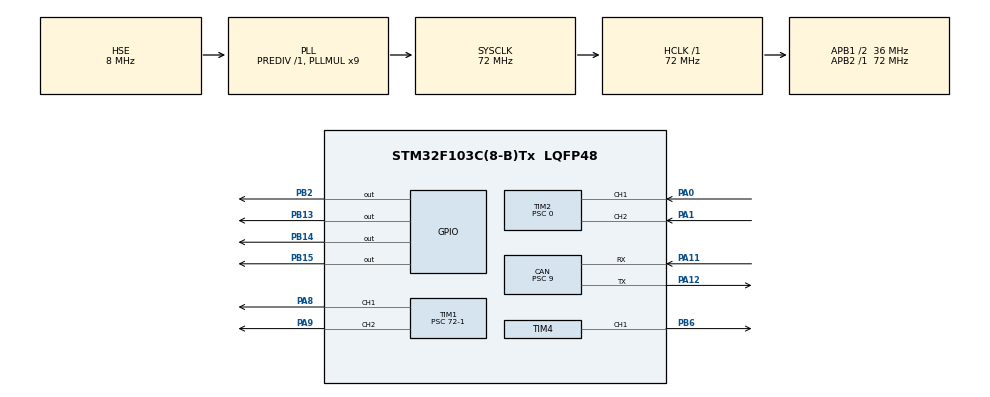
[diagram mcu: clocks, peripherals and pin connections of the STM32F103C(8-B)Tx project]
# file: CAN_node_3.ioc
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CAN.BS1=CAN_BS1_3TQ
CAN.BS2=CAN_BS2_4TQ
CAN.CalculateBaudRate=500000
CAN.CalculateTimeBit=2000.00
CAN.CalculateTimeQuantum=250.0
CAN.Prescaler=9
FREERTOS.Queues01=q_motor_control,32,uint16_t,0,Dynamic,NULL,NULL;q_motor_actual,32,uint16_t,0,Dynamic,NULL,NULL;q_servo_control,16,uint16_t,0,Dynamic,NULL,NULL
FREERTOS.Tasks01=send_msg,0,128,StartDefaultTask,Default,NULL,Dynamic,NULL,NULL;control_motor,-3,128,StartTask02,Default,NULL,Dynamic,NULL,NULL;control_servo,-3,128,StartTask03,Default,NULL,Dynamic,NULL,NULL
Mcu.Family=STM32F1
Mcu.Name=STM32F103C(8-B)Tx
Mcu.Package=LQFP48
NVIC.PriorityGroup=NVIC_PRIORITYGROUP_4
NVIC.TIM1_UP_IRQn=true\:5\:0\:false\:false\:true\:true\:true\:true
NVIC.TIM2_IRQn=true\:5\:0\:false\:false\:true\:true\:true\:true
NVIC.USB_LP_CAN1_RX0_IRQn=true\:5\:0\:false\:false\:true\:true\:true\:true
PA0-WKUP.Signal=S_TIM2_CH1_ETR
PA1.Signal=S_TIM2_CH2
PA11.Mode=CAN_Activate
PA11.Signal=CAN_RX
PA12.Mode=CAN_Activate
PA12.Signal=CAN_TX
PA13.Mode=Serial_Wire
PA13.Signal=SYS_JTMS-SWDIO
PA14.Mode=Serial_Wire
PA14.Signal=SYS_JTCK-SWCLK
PA8.Signal=S_TIM1_CH1
PA9.Signal=S_TIM1_CH2
PB13.Signal=GPIO_Output
PB14.Signal=GPIO_Output
PB15.Signal=GPIO_Output
PB2.Signal=GPIO_Output
PB6.Signal=S_TIM4_CH1
PD0-OSC_IN.Mode=HSE-External-Oscillator
PD0-OSC_IN.Signal=RCC_OSC_IN
PD1-OSC_OUT.Mode=HSE-External-Oscillator
PD1-OSC_OUT.Signal=RCC_OSC_OUT
ProjectManager.HeapSize=0x200
ProjectManager.StackSize=0x400
ProjectManager.TargetToolchain=STM32CubeIDE
RCC.AHBFreq_Value=72000000
RCC.APB1CLKDivider=RCC_HCLK_DIV2
RCC.APB1Freq_Value=36000000
RCC.APB1TimFreq_Value=72000000
RCC.APB2Freq_Value=72000000
RCC.APB2TimFreq_Value=72000000
RCC.HCLKFreq_Value=72000000
RCC.PLLMUL=RCC_PLL_MUL9
RCC.PLLSourceVirtual=RCC_PLLSOURCE_HSE
RCC.SYSCLKFreq_VALUE=72000000
RCC.SYSCLKSource=RCC_SYSCLKSOURCE_PLLCLK
RCC.USBFreq_Value=72000000
SH.S_TIM1_CH1.0=TIM1_CH1,PWM Generation1 CH1
SH.S_TIM1_CH2.0=TIM1_CH2,PWM Generation2 CH2
SH.S_TIM2_CH1_ETR.0=TIM2_CH1,Encoder_Interface
SH.S_TIM2_CH2.0=TIM2_CH2,Encoder_Interface
SH.S_TIM4_CH1.0=TIM4_CH1,PWM Generation1 CH1
TIM1.Channel-PWM\ Generation1\ CH1=TIM_CHANNEL_1
TIM1.Channel-PWM\ Generation2\ CH2=TIM_CHANNEL_2
TIM1.Period=1000-1
TIM1.Prescaler=72-1
TIM2.Period=65535
TIM2.Prescaler=0
TIM4.Channel-PWM\ Generation1\ CH1=TIM_CHANNEL_1
TIM4.Period=10000-1
TIM4.Prescaler=144-1
VP_FREERTOS_VS_CMSIS_V1.Mode=CMSIS_V1
VP_TIM1_VS_ClockSourceINT.Mode=Internal
VP_TIM4_VS_ClockSourceINT.Mode=Internal
board=custom

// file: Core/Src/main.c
/* USER CODE BEGIN Header */
/**
  ******************************************************************************
  * @file           : main.c
  * @brief          : Main program body
  ******************************************************************************
  * @attention
  *
  * <h2><center>&copy; Copyright (c) 2025 STMicroelectronics.
  * All rights reserved.</center></h2>
  *
  * This software component is licensed by ST under BSD 3-Clause license,
  * the "License"; You may not use this file except in compliance with the
  * License. You may obtain a copy of the License at:
  *                        opensource.org/licenses/BSD-3-Clause
  *
  ******************************************************************************
  */
/* USER CODE END Header */
#include "main.h"
#include "cmsis_os.h"

/* USER CODE BEGIN Includes */
#include "motor.h"
#include "can_handler.h"
/* USER CODE END Includes */

CAN_HandleTypeDef hcan;

TIM_HandleTypeDef htim1;
TIM_HandleTypeDef htim2;
TIM_HandleTypeDef htim4;

osThreadId send_msgHandle;
osThreadId control_motorHandle;
osThreadId control_servoHandle;
osMessageQId q_motor_controlHandle;
osMessageQId q_motor_actualHandle;
osMessageQId q_servo_controlHandle;
/* USER CODE BEGIN PV */

motor_t main_motor;

uint16_t 	speed_control;
float 		speed_pulse;
uint16_t	angle_control;
float 		angel_pulse;

float 		kp = 1;
float 		ki = 0.1;
float 		kd = 0.1;

CAN_TxHeaderTypeDef   tx_header;
uint8_t               tx_data[8];
uint32_t              tx_mailbox;

CAN_RxHeaderTypeDef   rx_header;
uint8_t               rx_data[8];

/* USER CODE END PV */

void SystemClock_Config(void);
static void MX_GPIO_Init(void);
static void MX_CAN_Init(void);
static void MX_TIM1_Init(void);
static void MX_TIM2_Init(void);
static void MX_TIM4_Init(void);
void StartDefaultTask(void const * argument);
void StartTask02(void const * argument);
void StartTask03(void const * argument);

/* USER CODE BEGIN PFP */
void clear_buff (uint8_t * buff_clear, size_t num)
{
	if (buff_clear == NULL) return;

	memset(buff_clear, 0, num);
}

void HAL_CAN_RxFifo0MsgPendingCallback (CAN_HandleTypeDef *hcan)
{
	if (HAL_CAN_GetRxMessage(hcan, CAN_RX_FIFO0, &rx_header, rx_data) != HAL_OK)
	{
	Error_Handler();
	}
	if (rx_header.StdId == 0x100)
	{
	  osMessagePut(q_motor_controlHandle, (rx_data[0] | (rx_data[1] << 8)), 0);
	  clear_buff(&rx_data, sizeof(uint8_t)*8);
	}
	if (rx_header.StdId == 0x110)
	{
	  osMessagePut(q_servo_controlHandle, (rx_data[0] | (rx_data[1] << 8)), 0);
	  clear_buff(&rx_data, sizeof(uint8_t)*8);
	}
}

void read_enc (motor_t * motor, TIM_HandleTypeDef * htim)
{
	motor->curr_cnt = __HAL_TIM_GET_COUNTER(htim);
	if ((motor->curr_cnt - motor->pre_cnt) < 65000)
	{
	 	motor->actl_rpm = (int)(motor->curr_cnt - motor->pre_cnt)/((float)1.1);
	 	motor->actl_speed = (int)(motor->actl_rpm * 1.3);
	}
	motor->pre_cnt = motor->curr_cnt;
}

void control_motor (motor_t * motor, uint16_t set_point, TIM_HandleTypeDef 	* _htim)
{
	set_point = set_point * 100 / 4096;
	speed_pulse = calc_PID((motor->actl_rpm * 100)/144, set_point, kp, ki, kd);
	speed_pulse = ((float)speed_pulse/100)*1000;
	__HAL_TIM_SET_COMPARE(_htim, TIM_CHANNEL_1, (uint16_t)speed_pulse);
}

void HAL_TIM_PeriodElapsedCallback (TIM_HandleTypeDef *htim)
{
	static uint16_t period_sample_cnt = 0;
	if (htim->Instance == htim1.Instance){
		if (period_sample_cnt < SAMPLING_ENC)
		{
			 period_sample_cnt++;
		}
		else
		{
			 period_sample_cnt = 0;
			 read_enc(&main_motor, &htim2);
			 control_motor(&main_motor, speed_control, &htim1);
		}
	}
}

void blinker_led ()
{
	static uint32_t curr_tick_cnt = 0;
	static uint32_t pre_tick_cnt = 0;

	curr_tick_cnt = osKernelSysTick();
	if (curr_tick_cnt - pre_tick_cnt > 1000)
	{
		HAL_GPIO_WritePin(GPIOB, GPIO_PIN_2, GPIO_PIN_SET);
	}
	if (curr_tick_cnt - pre_tick_cnt > 1030)
	{
		pre_tick_cnt = curr_tick_cnt;
		HAL_GPIO_WritePin(GPIOB, GPIO_PIN_2, GPIO_PIN_RESET);
	}
}

/* USER CODE END PFP */

int main(void)
{

  /* MCU Configuration--------------------------------------------------------*/

  /* Reset of all peripherals, Initializes the Flash interface and the Systick. */
   HAL_Init();

  /* Configure the system clock */
  SystemClock_Config();

  /* Initialize all configured peripherals */
  MX_GPIO_Init();
  MX_CAN_Init();
  MX_TIM1_Init();
  MX_TIM2_Init();
  MX_TIM4_Init();
  /* USER CODE BEGIN 2 */
  /* Initialize CAN error handler */
  CAN_ErrorHandler_Init(&hcan);

  HAL_CAN_Start(&hcan);

  /* Activate CAN notifications with error handling */
  HAL_CAN_ActivateNotification(&hcan,
      CAN_IT_RX_FIFO0_MSG_PENDING |
      CAN_IT_ERROR_WARNING |
      CAN_IT_ERROR_PASSIVE |
      CAN_IT_BUSOFF |
      CAN_IT_LAST_ERROR_CODE);

  /* USER CODE END 2 */

  /* Create the queue(s) */
  /* definition and creation of q_motor_control */
  osMessageQDef(q_motor_control, 32, uint16_t);
  q_motor_controlHandle = osMessageCreate(osMessageQ(q_motor_control), NULL);

  /* definition and creation of q_motor_actual */
  osMessageQDef(q_motor_actual, 32, uint16_t);
  q_motor_actualHandle = osMessageCreate(osMessageQ(q_motor_actual), NULL);

  /* definition and creation of q_servo_control */
  osMessageQDef(q_servo_control, 16, uint16_t);
  q_servo_controlHandle = osMessageCreate(osMessageQ(q_servo_control), NULL);

  /* Create the thread(s) */
  /* definition and creation of send_msg */
  osThreadDef(send_msg, StartDefaultTask, osPriorityNormal, 0, 128);
  send_msgHandle = osThreadCreate(osThread(send_msg), NULL);

  /* definition and creation of control_motor */
  osThreadDef(control_motor, StartTask02, osPriorityIdle, 0, 128);
  control_motorHandle = osThreadCreate(osThread(control_motor), NULL);

  /* definition and creation of control_servo */
  osThreadDef(control_servo, StartTask03, osPriorityIdle, 0, 128);
  control_servoHandle = osThreadCreate(osThread(control_servo), NULL);

  /* Start scheduler */
  osKernelStart();

  /* We should never get here as control is now taken by the scheduler */
  /* Infinite loop */
  while (1)
  {

  }
}

void SystemClock_Config(void)
{
  RCC_OscInitTypeDef RCC_OscInitStruct = {0};
  RCC_ClkInitTypeDef RCC_ClkInitStruct = {0};

  /** Initializes the RCC Oscillators according to the specified parameters
  * in the RCC_OscInitTypeDef structure.
  */
  RCC_OscInitStruct.OscillatorType = RCC_OSCILLATORTYPE_HSE;
  RCC_OscInitStruct.HSEState = RCC_HSE_ON;
  RCC_OscInitStruct.HSEPredivValue = RCC_HSE_PREDIV_DIV1;
  RCC_OscInitStruct.HSIState = RCC_HSI_ON;
  RCC_OscInitStruct.PLL.PLLState = RCC_PLL_ON;
  RCC_OscInitStruct.PLL.PLLSource = RCC_PLLSOURCE_HSE;
  RCC_OscInitStruct.PLL.PLLMUL = RCC_PLL_MUL9;
  if (HAL_RCC_OscConfig(&RCC_OscInitStruct) != HAL_OK)
  {
    Error_Handler();
  }
  /** Initializes the CPU, AHB and APB buses clocks
  */
  RCC_ClkInitStruct.ClockType = RCC_CLOCKTYPE_HCLK|RCC_CLOCKTYPE_SYSCLK
                              |RCC_CLOCKTYPE_PCLK1|RCC_CLOCKTYPE_PCLK2;
  RCC_ClkInitStruct.SYSCLKSource = RCC_SYSCLKSOURCE_PLLCLK;
  RCC_ClkInitStruct.AHBCLKDivider = RCC_SYSCLK_DIV1;
  RCC_ClkInitStruct.APB1CLKDivider = RCC_HCLK_DIV2;
  RCC_ClkInitStruct.APB2CLKDivider = RCC_HCLK_DIV1;

  if (HAL_RCC_ClockConfig(&RCC_ClkInitStruct, FLASH_LATENCY_2) != HAL_OK)
  {
    Error_Handler();
  }
}

static void MX_CAN_Init(void)
{

  hcan.Instance = CAN1;
  hcan.Init.Prescaler = 9;
  hcan.Init.Mode = CAN_MODE_NORMAL;
  hcan.Init.SyncJumpWidth = CAN_SJW_1TQ;
  hcan.Init.TimeSeg1 = CAN_BS1_3TQ;
  hcan.Init.TimeSeg2 = CAN_BS2_4TQ;
  hcan.Init.TimeTriggeredMode = DISABLE;
  hcan.Init.AutoBusOff = DISABLE;
  hcan.Init.AutoWakeUp = DISABLE;
  hcan.Init.AutoRetransmission = DISABLE;
  hcan.Init.ReceiveFifoLocked = DISABLE;
  hcan.Init.TransmitFifoPriority = DISABLE;
  if (HAL_CAN_Init(&hcan) != HAL_OK)
  {
    Error_Handler();
  }
  /* USER CODE BEGIN CAN_Init 2 */
  CAN_FilterTypeDef canfilterconfig;

  canfilterconfig.FilterActivation = ENABLE;
  canfilterconfig.FilterBank = 0;
  canfilterconfig.FilterFIFOAssignment = CAN_RX_FIFO0;
  canfilterconfig.FilterMode = CAN_FILTERMODE_IDMASK;
  canfilterconfig.FilterIdHigh = (0x100 << 5);
  canfilterconfig.FilterIdLow = 0;
  canfilterconfig.FilterMaskIdHigh = (0x100 << 5);
  canfilterconfig.FilterMaskIdLow = 0;
  canfilterconfig.FilterScale = CAN_FILTERSCALE_32BIT;
  canfilterconfig.SlaveStartFilterBank = 10;

  HAL_CAN_ConfigFilter(&hcan, &canfilterconfig);

  /* USER CODE END CAN_Init 2 */

}

static void MX_TIM1_Init(void)
{

  TIM_ClockConfigTypeDef sClockSourceConfig = {0};
  TIM_MasterConfigTypeDef sMasterConfig = {0};
  TIM_OC_InitTypeDef sConfigOC = {0};
  TIM_BreakDeadTimeConfigTypeDef sBreakDeadTimeConfig = {0};

  htim1.Instance = TIM1;
  htim1.Init.Prescaler = 72-1;
  htim1.Init.CounterMode = TIM_COUNTERMODE_UP;
  htim1.Init.Period = 1000-1;
  htim1.Init.ClockDivision = TIM_CLOCKDIVISION_DIV1;
  htim1.Init.RepetitionCounter = 0;
  htim1.Init.AutoReloadPreload = TIM_AUTORELOAD_PRELOAD_DISABLE;
  if (HAL_TIM_Base_Init(&htim1) != HAL_OK)
  {
    Error_Handler();
  }
  sClockSourceConfig.ClockSource = TIM_CLOCKSOURCE_INTERNAL;
  if (HAL_TIM_ConfigClockSource(&htim1, &sClockSourceConfig) != HAL_OK)
  {
    Error_Handler();
  }
  if (HAL_TIM_PWM_Init(&htim1) != HAL_OK)
  {
    Error_Handler();
  }
  sMasterConfig.MasterOutputTrigger = TIM_TRGO_RESET;
  sMasterConfig.MasterSlaveMode = TIM_MASTERSLAVEMODE_DISABLE;
  if (HAL_TIMEx_MasterConfigSynchronization(&htim1, &sMasterConfig) != HAL_OK)
  {
    Error_Handler();
  }
  sConfigOC.OCMode = TIM_OCMODE_PWM1;
  sConfigOC.Pulse = 0;
  sConfigOC.OCPolarity = TIM_OCPOLARITY_HIGH;
  sConfigOC.OCNPolarity = TIM_OCNPOLARITY_HIGH;
  sConfigOC.OCFastMode = TIM_OCFAST_DISABLE;
  sConfigOC.OCIdleState = TIM_OCIDLESTATE_RESET;
  sConfigOC.OCNIdleState = TIM_OCNIDLESTATE_RESET;
  if (HAL_TIM_PWM_ConfigChannel(&htim1, &sConfigOC, TIM_CHANNEL_1) != HAL_OK)
  {
    Error_Handler();
  }
  if (HAL_TIM_PWM_ConfigChannel(&htim1, &sConfigOC, TIM_CHANNEL_2) != HAL_OK)
  {
    Error_Handler();
  }
  sBreakDeadTimeConfig.OffStateRunMode = TIM_OSSR_DISABLE;
  sBreakDeadTimeConfig.OffStateIDLEMode = TIM_OSSI_DISABLE;
  sBreakDeadTimeConfig.LockLevel = TIM_LOCKLEVEL_OFF;
  sBreakDeadTimeConfig.DeadTime = 0;
  sBreakDeadTimeConfig.BreakState = TIM_BREAK_DISABLE;
  sBreakDeadTimeConfig.BreakPolarity = TIM_BREAKPOLARITY_HIGH;
  sBreakDeadTimeConfig.AutomaticOutput = TIM_AUTOMATICOUTPUT_DISABLE;
  if (HAL_TIMEx_ConfigBreakDeadTime(&htim1, &sBreakDeadTimeConfig) != HAL_OK)
  {
    Error_Handler();
  }
  HAL_TIM_MspPostInit(&htim1);

}

static void MX_TIM2_Init(void)
{

  TIM_Encoder_InitTypeDef sConfig = {0};
  TIM_MasterConfigTypeDef sMasterConfig = {0};

  htim2.Instance = TIM2;
  htim2.Init.Prescaler = 0;
  htim2.Init.CounterMode = TIM_COUNTERMODE_UP;
  htim2.Init.Period = 65535;
  htim2.Init.ClockDivision = TIM_CLOCKDIVISION_DIV1;
  htim2.Init.AutoReloadPreload = TIM_AUTORELOAD_PRELOAD_DISABLE;
  sConfig.EncoderMode = TIM_ENCODERMODE_TI1;
  sConfig.IC1Polarity = TIM_ICPOLARITY_RISING;
  sConfig.IC1Selection = TIM_ICSELECTION_DIRECTTI;
  sConfig.IC1Prescaler = TIM_ICPSC_DIV1;
  sConfig.IC1Filter = 0;
  sConfig.IC2Polarity = TIM_ICPOLARITY_RISING;
  sConfig.IC2Selection = TIM_ICSELECTION_DIRECTTI;
  sConfig.IC2Prescaler = TIM_ICPSC_DIV1;
  sConfig.IC2Filter = 0;
  if (HAL_TIM_Encoder_Init(&htim2, &sConfig) != HAL_OK)
  {
    Error_Handler();
  }
  sMasterConfig.MasterOutputTrigger = TIM_TRGO_RESET;
  sMasterConfig.MasterSlaveMode = TIM_MASTERSLAVEMODE_DISABLE;
  if (HAL_TIMEx_MasterConfigSynchronization(&htim2, &sMasterConfig) != HAL_OK)
  {
    Error_Handler();
  }

}

static void MX_TIM4_Init(void)
{

  TIM_ClockConfigTypeDef sClockSourceConfig = {0};
  TIM_MasterConfigTypeDef sMasterConfig = {0};
  TIM_OC_InitTypeDef sConfigOC = {0};

  htim4.Instance = TIM4;
  htim4.Init.Prescaler = 144-1;
  htim4.Init.CounterMode = TIM_COUNTERMODE_UP;
  htim4.Init.Period = 10000-1;
  htim4.Init.ClockDivision = TIM_CLOCKDIVISION_DIV1;
  htim4.Init.AutoReloadPreload = TIM_AUTORELOAD_PRELOAD_DISABLE;
  if (HAL_TIM_Base_Init(&htim4) != HAL_OK)
  {
    Error_Handler();
  }
  sClockSourceConfig.ClockSource = TIM_CLOCKSOURCE_INTERNAL;
  if (HAL_TIM_ConfigClockSource(&htim4, &sClockSourceConfig) != HAL_OK)
  {
    Error_Handler();
  }
  if (HAL_TIM_PWM_Init(&htim4) != HAL_OK)
  {
    Error_Handler();
  }
  sMasterConfig.MasterOutputTrigger = TIM_TRGO_RESET;
  sMasterConfig.MasterSlaveMode = TIM_MASTERSLAVEMODE_DISABLE;
  if (HAL_TIMEx_MasterConfigSynchronization(&htim4, &sMasterConfig) != HAL_OK)
  {
    Error_Handler();
  }
  sConfigOC.OCMode = TIM_OCMODE_PWM1;
  sConfigOC.Pulse = 0;
  sConfigOC.OCPolarity = TIM_OCPOLARITY_HIGH;
  sConfigOC.OCFastMode = TIM_OCFAST_DISABLE;
  if (HAL_TIM_PWM_ConfigChannel(&htim4, &sConfigOC, TIM_CHANNEL_1) != HAL_OK)
  {
    Error_Handler();
  }
  HAL_TIM_MspPostInit(&htim4);

}

static void MX_GPIO_Init(void)
{
  GPIO_InitTypeDef GPIO_InitStruct = {0};

  /* GPIO Ports Clock Enable */
  __HAL_RCC_GPIOD_CLK_ENABLE();
  __HAL_RCC_GPIOA_CLK_ENABLE();
  __HAL_RCC_GPIOB_CLK_ENABLE();

  /*Configure GPIO pin Output Level */
  HAL_GPIO_WritePin(GPIOB, GPIO_PIN_2|GPIO_PIN_13|GPIO_PIN_14|GPIO_PIN_15, GPIO_PIN_RESET);

  /*Configure GPIO pins : PB2 PB13 PB14 PB15 */
  GPIO_InitStruct.Pin = GPIO_PIN_2|GPIO_PIN_13|GPIO_PIN_14|GPIO_PIN_15;
  GPIO_InitStruct.Mode = GPIO_MODE_OUTPUT_PP;
  GPIO_InitStruct.Pull = GPIO_NOPULL;
  GPIO_InitStruct.Speed = GPIO_SPEED_FREQ_LOW;
  HAL_GPIO_Init(GPIOB, &GPIO_InitStruct);

}

/* Helper function to send CAN message with retry for Node 3 */
HAL_StatusTypeDef can_send_message_node3(uint32_t std_id, uint8_t* data, uint8_t dlc)
{
    tx_header.StdId = std_id;
    tx_header.RTR = CAN_RTR_DATA;
    tx_header.DLC = dlc;

    /* Use retry mechanism for reliable transmission */
    return CAN_Send_WithRetry(&hcan, &tx_header, data, &tx_mailbox, CAN_RETRY_MAX);
}

void StartDefaultTask(void const * argument)
{
  /* USER CODE BEGIN 5 */
  /* Infinite loop */
				/* Send message */
	uint8_t * p_buff_ptr = &main_motor.actl_rpm;
	for(;;)
	{
		tx_data[0] = *p_buff_ptr;
		p_buff_ptr++;
		tx_data[1] = *p_buff_ptr;

		/* Send with retry mechanism */
		if (can_send_message_node3(0x101, tx_data, 2) != HAL_OK)
		{
		    /* Handle transmission error */
		}

		clear_buff(&tx_data, sizeof(uint8_t)*8);
		p_buff_ptr = &main_motor.actl_rpm;

		blinker_led();
		osDelay(5);
	}
  /* USER CODE END 5 */
}

void StartTask02(void const * argument)
{
  /* USER CODE BEGIN StartTask02 */
  /* Infinite loop */
				/* control motor */
	osEvent q_message;
	HAL_TIM_Base_Start_IT(&htim1);
	HAL_TIM_PWM_Start(&htim1, TIM_CHANNEL_1);
	HAL_TIM_Encoder_Start(&htim2, TIM_CHANNEL_1 | TIM_CHANNEL_2);
	HAL_GPIO_WritePin(GPIOB, GPIO_PIN_13, GPIO_PIN_SET);
	HAL_GPIO_WritePin(GPIOB, GPIO_PIN_14, GPIO_PIN_RESET);
	HAL_GPIO_WritePin(GPIOB, GPIO_PIN_15, GPIO_PIN_SET);
	for(;;)
	{
		q_message = osMessageGet(q_motor_controlHandle, 0);

		/* get a message in q_light_control if it is not empty */
		if (q_message.status == osEventMessage)
		{
		speed_control = q_message.value.v;
		}
		osDelay(1);
	}
  /* USER CODE END StartTask02 */
}

void StartTask03(void const * argument)
{
  /* USER CODE BEGIN StartTask03 */
  /* Infinite loop */
			/* control servo */
	osEvent q_message;
	HAL_TIM_PWM_Start(&htim4, TIM_CHANNEL_1);
	for(;;)
	{
		q_message = osMessageGet(q_servo_controlHandle, 0);

		/* get a message in q_light_control if it is not empty */
		if (q_message.status == osEventMessage)
		{
			angle_control = q_message.value.v;
		}
		angel_pulse = ((float)angle_control/4032)*900 + 300;
		__HAL_TIM_SET_COMPARE(&htim4, TIM_CHANNEL_1, (uint16_t)angel_pulse);

		osDelay(1);
	}
  /* USER CODE END StartTask03 */
}

void Error_Handler(void)
{
  __disable_irq();
  while (1)
  {
  }
}

/************************ (C) COPYRIGHT STMicroelectronics *****END OF FILE****/
